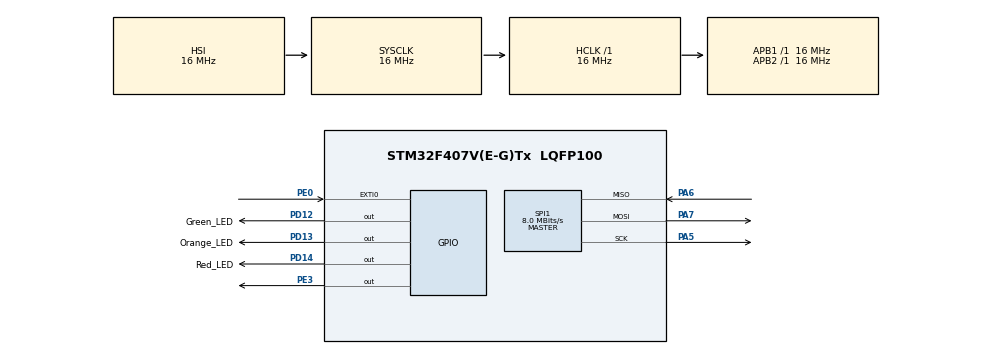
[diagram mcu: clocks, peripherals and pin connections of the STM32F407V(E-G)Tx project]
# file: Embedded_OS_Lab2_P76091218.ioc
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Mcu.Family=STM32F4
PD12.GPIO_Label=Green_LED
PA6.Mode=Full_Duplex_Master
VP_SYS_VS_tim6.Mode=TIM6
RCC.CortexFreq_Value=16000000
PA7.Mode=Full_Duplex_Master
SPI1.VirtualType=VM_MASTER
NVIC.TIM6_DAC_IRQn=true\:0\:0\:false\:false\:true\:false\:true
ProjectManager.StackSize=0x400
PA13.Signal=SYS_JTMS-SWDIO
PD13.Signal=GPIO_Output
ProjectManager.TargetToolchain=STM32CubeIDE
SPI1.Direction=SPI_DIRECTION_2LINES
SPI1.CalculateBaudRate=8.0 MBits/s
RCC.LSE_VALUE=32768
RCC.AHBFreq_Value=16000000
PA5.Signal=SPI1_SCK
RCC.HSE_VALUE=25000000
board=custom
RCC.VCOOutputFreq_Value=192000000
RCC.APB2Freq_Value=16000000
SPI1.Mode=SPI_MODE_MASTER
PA14.Mode=Serial_Wire
PD14.GPIO_Label=Red_LED
PA13.Mode=Serial_Wire
Mcu.Name=STM32F407V(E-G)Tx
PE0.Signal=GPXTI0
PD14.Signal=GPIO_Output
NVIC.EXTI0_IRQn=true\:7\:0\:true\:false\:true\:true\:true
RCC.SYSCLKFreq_VALUE=16000000
PD13.GPIO_Label=Orange_LED
Mcu.Package=LQFP100
PA6.Signal=SPI1_MISO
NVIC.TimeBase=TIM6_DAC_IRQn
PD12.Signal=GPIO_Output
NVIC.TimeBaseIP=TIM6
PA14.Signal=SYS_JTCK-SWCLK
ProjectManager.HeapSize=0x200
RCC.HSI_VALUE=16000000
NVIC.PriorityGroup=NVIC_PRIORITYGROUP_4
PE3.Signal=GPIO_Output
RCC.APB1Freq_Value=16000000
PA5.Mode=Full_Duplex_Master
PA7.Signal=SPI1_MOSI

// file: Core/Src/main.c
/* USER CODE BEGIN Header */
/**
  ******************************************************************************
  * @file           : main.c
  * @brief          : Main program body
  ******************************************************************************
  * @attention
  *
  * <h2><center>&copy; Copyright (c) 2021 STMicroelectronics.
  * All rights reserved.</center></h2>
  *
  * This software component is licensed by ST under BSD 3-Clause license,
  * the "License"; You may not use this file except in compliance with the
  * License. You may obtain a copy of the License at:
  *                        opensource.org/licenses/BSD-3-Clause
  *
  ******************************************************************************
  */
/* USER CODE END Header */
#include "FreeRTOS.h"
#include "main.h"
#include "task.h"
#include "semphr.h"

/* USER CODE BEGIN PM */
#define LIS3DSH_WHO_AM_I_ADDR                0x0F
#define LIS3DSH_STAT_ADDR                    0x18
#define LIS3DSH_CTRL_REG4_ADDR               0x20
#define LIS3DSH_CTRL_REG1_ADDR               0x21
#define LIS3DSH_CTRL_REG2_ADDR               0x22
#define LIS3DSH_CTRL_REG3_ADDR               0x23
#define LIS3DSH_CTRL_REG5_ADDR               0x24
#define LIS3DSH_CTRL_REG6_ADDR               0x25

#define LIS3DSH_STATUS_ADDR                  0x27

#define LIS3DSH_OUT_X_L_ADDR                 0x28
#define LIS3DSH_OUT_X_H_ADDR                 0x29
#define LIS3DSH_OUT_Y_L_ADDR                 0x2A
#define LIS3DSH_OUT_Y_H_ADDR                 0x2B
#define LIS3DSH_OUT_Z_L_ADDR                 0x2C
#define LIS3DSH_OUT_Z_H_ADDR                 0x2D

#define LIS3DSH_ST1_1_ADDR                   0x40
#define LIS3DSH_ST1_2_ADDR                   0x41
#define LIS3DSH_THRS1_1_ADDR                 0x57
#define LIS3DSH_MASK1_B_ADDR                 0x59
#define LIS3DSH_MASK1_A_ADDR                 0x5A
#define LIS3DSH_SETT1_ADDR                   0x5B
/* USER CODE END PM */

SPI_HandleTypeDef hspi1;
SemaphoreHandle_t xSemaphore;

void SystemClock_Config(void);
static void MX_GPIO_Init(void);
static void MX_SPI1_Init(void);
void vHandletask(void);
void vLEDtask(void);

/* USER CODE BEGIN 0 */
void MEMS_Write(uint8_t address,uint8_t data){
	HAL_GPIO_WritePin(GPIOE, GPIO_PIN_3, GPIO_PIN_RESET);
	HAL_SPI_Transmit(&hspi1,&address,1,10);
	HAL_SPI_Transmit(&hspi1,&data,1,10);
	HAL_GPIO_WritePin(GPIOE, GPIO_PIN_3,GPIO_PIN_SET);
}
//void MEMS_Read(uint8_t address,uint8_t *data){
//    address |= 0x80;
//	HAL_GPIO_WritePin(GPIOE,GPIO_PIN_3,GPIO_PIN_RESET);
//	HAL_SPI_Transmit(&hspi1,&address,1,10);
//	HAL_SPI_Receive(&hspi1,data,1,10);
//	HAL_GPIO_WritePin(GPIOE,GPIO_PIN_3,GPIO_PIN_SET);
//}
void table_init(){
	MEMS_Write(0x21,0x01);
	MEMS_Write(0x23,0x48);
	MEMS_Write(0x20,0x67);
	MEMS_Write(0x24,0x00);
	MEMS_Write(0x57,0x55);
	MEMS_Write(0x40,0x05);
	MEMS_Write(0x41,0x11);
	MEMS_Write(0x59,0xFC);
	MEMS_Write(0x5A,0xFC);
	MEMS_Write(0x5B,0x01);
}
/* USER CODE END 0 */

int main(void)
{
  /* USER CODE BEGIN 1 */
	uint8_t data;
  /* USER CODE END 1 */

  /* MCU Configuration--------------------------------------------------------*/

  /* Reset of all peripherals, Initializes the Flash interface and the Systick. */
  HAL_Init();

  /* Configure the system clock */
  SystemClock_Config();

  /* Initialize all configured peripherals */
  MX_GPIO_Init();
  MX_SPI1_Init();
  /* USER CODE BEGIN 2 */
  xSemaphore = xSemaphoreCreateBinary();
  table_init();
  BaseType_t xhandletask = xTaskCreate(vHandletask,
                                          "HANDLE",
                                          128,
                                          NULL,
                                          2,
                                          NULL);
   BaseType_t xLEDtask = xTaskCreate(vLEDtask,
                                          "BUTTON",
                                          128,
                                          NULL,
                                          1,
                                          NULL);

    vTaskStartScheduler();
  /* USER CODE END 2 */

  /* Infinite loop */
  while (1)
  {

  }
}

void SystemClock_Config(void)
{
  RCC_OscInitTypeDef RCC_OscInitStruct = {0};
  RCC_ClkInitTypeDef RCC_ClkInitStruct = {0};

  /** Configure the main internal regulator output voltage
  */
  __HAL_RCC_PWR_CLK_ENABLE();
  __HAL_PWR_VOLTAGESCALING_CONFIG(PWR_REGULATOR_VOLTAGE_SCALE1);
  /** Initializes the RCC Oscillators according to the specified parameters
  * in the RCC_OscInitTypeDef structure.
  */
  RCC_OscInitStruct.OscillatorType = RCC_OSCILLATORTYPE_HSI;
  RCC_OscInitStruct.HSIState = RCC_HSI_ON;
  RCC_OscInitStruct.HSICalibrationValue = RCC_HSICALIBRATION_DEFAULT;
  RCC_OscInitStruct.PLL.PLLState = RCC_PLL_NONE;
  if (HAL_RCC_OscConfig(&RCC_OscInitStruct) != HAL_OK)
  {
    Error_Handler();
  }
  /** Initializes the CPU, AHB and APB buses clocks
  */
  RCC_ClkInitStruct.ClockType = RCC_CLOCKTYPE_HCLK|RCC_CLOCKTYPE_SYSCLK
                              |RCC_CLOCKTYPE_PCLK1|RCC_CLOCKTYPE_PCLK2;
  RCC_ClkInitStruct.SYSCLKSource = RCC_SYSCLKSOURCE_HSI;
  RCC_ClkInitStruct.AHBCLKDivider = RCC_SYSCLK_DIV1;
  RCC_ClkInitStruct.APB1CLKDivider = RCC_HCLK_DIV1;
  RCC_ClkInitStruct.APB2CLKDivider = RCC_HCLK_DIV1;

  if (HAL_RCC_ClockConfig(&RCC_ClkInitStruct, FLASH_LATENCY_0) != HAL_OK)
  {
    Error_Handler();
  }
}

static void MX_SPI1_Init(void)
{

  /* SPI1 parameter configuration*/
  hspi1.Instance = SPI1;
  hspi1.Init.Mode = SPI_MODE_MASTER;
  hspi1.Init.Direction = SPI_DIRECTION_2LINES;
  hspi1.Init.DataSize = SPI_DATASIZE_8BIT;
  hspi1.Init.CLKPolarity = SPI_POLARITY_LOW;
  hspi1.Init.CLKPhase = SPI_PHASE_1EDGE;
  hspi1.Init.NSS = SPI_NSS_SOFT;
  hspi1.Init.BaudRatePrescaler = SPI_BAUDRATEPRESCALER_2;
  hspi1.Init.FirstBit = SPI_FIRSTBIT_MSB;
  hspi1.Init.TIMode = SPI_TIMODE_DISABLE;
  hspi1.Init.CRCCalculation = SPI_CRCCALCULATION_DISABLE;
  hspi1.Init.CRCPolynomial = 10;
  if (HAL_SPI_Init(&hspi1) != HAL_OK)
  {
    Error_Handler();
  }

}

static void MX_GPIO_Init(void)
{
  GPIO_InitTypeDef GPIO_InitStruct = {0};

  /* GPIO Ports Clock Enable */
  __HAL_RCC_GPIOE_CLK_ENABLE();
  __HAL_RCC_GPIOA_CLK_ENABLE();
  __HAL_RCC_GPIOD_CLK_ENABLE();

  /*Configure GPIO pin Output Level */
  HAL_GPIO_WritePin(GPIOE, GPIO_PIN_3, GPIO_PIN_RESET);

  /*Configure GPIO pin Output Level */
  HAL_GPIO_WritePin(GPIOD, Green_LED_Pin|Orange_LED_Pin|Red_LED_Pin, GPIO_PIN_RESET);

  /*Configure GPIO pin : PE3 */
  GPIO_InitStruct.Pin = GPIO_PIN_3;
  GPIO_InitStruct.Mode = GPIO_MODE_OUTPUT_PP;
  GPIO_InitStruct.Pull = GPIO_NOPULL;
  GPIO_InitStruct.Speed = GPIO_SPEED_FREQ_LOW;
  HAL_GPIO_Init(GPIOE, &GPIO_InitStruct);

  /*Configure GPIO pins : Green_LED_Pin Orange_LED_Pin Red_LED_Pin */
  GPIO_InitStruct.Pin = Green_LED_Pin|Orange_LED_Pin|Red_LED_Pin;
  GPIO_InitStruct.Mode = GPIO_MODE_OUTPUT_PP;
  GPIO_InitStruct.Pull = GPIO_NOPULL;
  GPIO_InitStruct.Speed = GPIO_SPEED_FREQ_LOW;
  HAL_GPIO_Init(GPIOD, &GPIO_InitStruct);

  /*Configure GPIO pin : PE0 */
  GPIO_InitStruct.Pin = GPIO_PIN_0;
  GPIO_InitStruct.Mode = GPIO_MODE_IT_RISING;
  GPIO_InitStruct.Pull = GPIO_NOPULL;
  HAL_GPIO_Init(GPIOE, &GPIO_InitStruct);

  /* EXTI interrupt init*/
  HAL_NVIC_SetPriority(EXTI0_IRQn, 7, 0);
  HAL_NVIC_EnableIRQ(EXTI0_IRQn);

}

/* USER CODE BEGIN 4 */

void vHandletask(){
  for(;;){
    if(xSemaphoreTake(xSemaphore,255)== pdTRUE){
      for(int i=0;i<5;i++){
        HAL_GPIO_WritePin(Orange_LED_GPIO_Port,GPIO_PIN_13,1);
        vTaskDelay(1000);
        HAL_GPIO_WritePin(Orange_LED_GPIO_Port,GPIO_PIN_13,0);
        vTaskDelay(1000);
      }
      table_init();
    }
  }
}

void vLEDtask(){
  for(;;){
    HAL_GPIO_WritePin(Green_LED_GPIO_Port,GPIO_PIN_12,1);
    vTaskDelay(1000);
    HAL_GPIO_WritePin(Green_LED_GPIO_Port,GPIO_PIN_12,0);
    vTaskDelay(1000);
  }
  //table_init();
}

void HAL_GPIO_EXTI_Callback(uint16_t GPIO_PIN)
{
	HAL_GPIO_TogglePin(GPIOD, GPIO_PIN_14);

 /* semaphore give */
	BaseType_t xHigherPriorityTaskWoken;
	xHigherPriorityTaskWoken = pdFALSE;
	xSemaphoreGiveFromISR( xSemaphore, &xHigherPriorityTaskWoken );
	portYIELD_FROM_ISR( xHigherPriorityTaskWoken );
}
/* USER CODE END 4 */

 /**
  * @brief  Period elapsed callback in non blocking mode
  * @note   This function is called  when TIM6 interrupt took place, inside
  * HAL_TIM_IRQHandler(). It makes a direct call to HAL_IncTick() to increment
  * a global variable "uwTick" used as application time base.
  * @param  htim : TIM handle
  * @retval None
  */
void HAL_TIM_PeriodElapsedCallback(TIM_HandleTypeDef *htim)
{
  if (htim->Instance == TIM6) {
    HAL_IncTick();
  }
}

void Error_Handler(void)
{
  __disable_irq();
  while (1)
  {
  }
}

/************************ (C) COPYRIGHT STMicroelectronics *****END OF FILE****/
